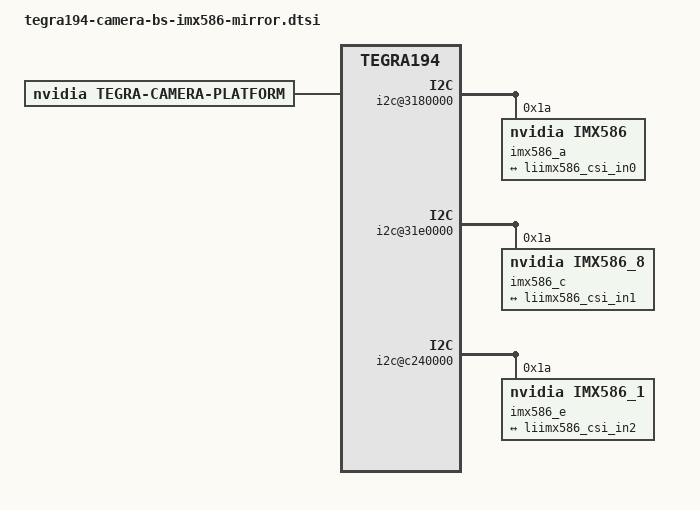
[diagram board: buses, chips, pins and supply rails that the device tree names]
/*
 * Copyright (c) 2020, Leopard Imaging Inc.  All rights reserved.
 * Based on Copyright (c) 2018, NVIDIA CORPORATION.  All rights reserved.
 * This program is free software; you can redistribute it and/or modify
 * it under the terms of the GNU General Public License as published by
 * the Free Software Foundation; either version 2 of the License, or
 * (at your option) any later version.
 *
 * This program is distributed in the hope that it will be useful, but WITHOUT
 * ANY WARRANTY; without even the implied warranty of MERCHANTABILITY or
 * FITNESS FOR A PARTICULAR PURPOSE.  See the GNU General Public License for
 * more details.
 *
 * You should have received a copy of the GNU General Public License
 * along with this program.  If not, see <http://www.gnu.org/licenses/>.
 */
//#include <dt-bindings/media/camera.h>

/ { // camera sensor pipelne: Sensor(raw) -> NVCSI-> VI-> ISP(yuv)-> Encoder/Decoder (V4L2)-> Display
	host1x {
		vi@15c10000 { // Video Input: this is the port binding
			/* CSI Channels */
		    num-channels = <3>; // Number of video inputs
			ports {
				#address-cells = <1>;
				#size-cells = <0>;
				port@0 { // media pad port
					reg = <0>;
					status = "okay";
					liimx586_vi_in0: endpoint {
						port-index = <0>; // sensor port connection
						bus-width = <4>; // number of CSI lanes. It CSI port has 2 CSI lanes, so there are 12 lanes total.
						remote-endpoint = <&liimx586_csi_out0>; // This binds the two ports. One is for sink and one for source
					};
				};
				
				port@1 { // media pad port
					reg = <1>;
					status = "okay";
					liimx586_vi_in1: endpoint {
						port-index = <2>; // sensor port connection
						bus-width = <4>; // number of CSI lanes. It CSI port has 2 CSI lanes, so there are 12 lanes total.
						remote-endpoint = <&liimx586_csi_out1>; // This binds the two ports. One is for sink and one for source
					};
				};


				port@2 { // media pad port
					reg = <2>;
					status = "okay";
					liimx586_vi_in2: endpoint {
						port-index = <4>; // sensor port connection
						bus-width = <4>; // number of CSI lanes. It CSI port has 2 CSI lanes, so there are 12 lanes total.
						remote-endpoint = <&liimx586_csi_out2>; // This binds the two ports. One is for sink and one for source
					};
				};
				
			};
		};
		
		// sensor -> (port2)NVCSI(port3) -> (port#)VI
		nvcsi@15a00000 {
			num-channels = <3>;
			#address-cells = <1>;
			#size-cells = <0>;
			channel@0 {
				reg = <0>;
				ports {
					#address-cells = <1>;
					#size-cells = <0>;
					port@0 {
						reg = <0>;
						status = "okay";
						liimx586_csi_in0: endpoint@0 {
							port-index = <0>; // sensor port connection
							bus-width = <4>; // number of CSI lanes. It CSI port has 2 CSI lanes, so there are 12 lanes total.
							remote-endpoint = <&liimx586_imx586_out0>; // This binds the two ports. One is for sink and one for source
						};
					};
					port@1 {
						reg = <1>;
						status = "okay";
						liimx586_csi_out0: endpoint@1 {
							remote-endpoint = <&liimx586_vi_in0>;
						};
					};
				};
			};	
					
			channel@1 {
				reg = <1>;
				ports {
					#address-cells = <1>;
					#size-cells = <0>;
					port@0 {
						reg = <0>;
						status = "okay";
						liimx586_csi_in1: endpoint@2 {
							port-index = <2>; // sensor port connection
							bus-width = <4>; // number of CSI lanes. It CSI port has 2 CSI lanes, so there are 12 lanes total.
							remote-endpoint = <&liimx586_imx586_out1>; // This binds the two ports. One is for sink and one for source
						};
					};
					port@1 {
						reg = <1>;
						status = "okay";
						liimx586_csi_out1: endpoint@3 {
							remote-endpoint = <&liimx586_vi_in1>;
						};
					};
				};
			};						

			channel@2 {
				reg = <2>;
				ports {
					#address-cells = <1>;
					#size-cells = <0>;
					port@0 {
						reg = <0>;
						status = "okay";
						liimx586_csi_in2: endpoint@4 {
							port-index = <4>; // sensor port connection
							bus-width = <4>; // number of CSI lanes. It CSI port has 2 CSI lanes, so there are 12 lanes total.
							remote-endpoint = <&liimx586_imx586_out2>; // This binds the two ports. One is for sink and one for source
						};
					};
					port@1 {
						reg = <1>;
						status = "okay";
						liimx586_csi_out2: endpoint@5 {
							remote-endpoint = <&liimx586_vi_in2>;
						};
					};
				};
			};			
		};
	};

	i2c@3180000 {
		imx586_a@34 {
			compatible = "nvidia,imx586";
			/* I2C device address */
			reg = <0x1A>;

			/* V4L2 device node location */
			devnode = "video1";

			/* Physical dimensions of sensor */
			physical_w = "6.4";
			physical_h = "4.8";

			sensor_model ="imx586";
			
			/* Define any required hw resources needed by driver */
			/* ie. clocks, io pins, power sources */
			avdd-reg = "vana";
			iovdd-reg = "vif";
			dvdd-reg = "vdig";
			
			/* Sensor output flip settings */
			vertical-flip = "true";

			/* Defines number of frames to be dropped by driver internally after applying */
			/* sensor crop settings. Some sensors send corrupt frames after applying */
			/* crop co-ordinates */
			post_crop_frame_drop = "0";
		
			/* Convert Gain to unit of dB (decibel) befor passing to kernel driver */
			use_decibel_gain = "true";

			/* if true, delay gain setting by one frame to be in sync with exposure */
			delayed_gain = "true";

			/* enable CID_SENSOR_MODE_ID for sensor modes selection */
			use_sensor_mode_id = "true";
		
			/**
			* A modeX node is required to support v4l2 driver
			* implementation with NVIDIA camera software stack
			*
			* mclk_khz = "";
			* Standard MIPI driving clock, typically 24MHz
			*
			* num_lanes = "";
			* Number of lane channels sensor is programmed to output
			*
			* tegra_sinterface = "";
			* The base tegra serial interface lanes are connected to
			* Incase of virtual HW devices, use virtual
			* For SW emulated devices, use host
			* must be set to the CSI port where the sensor is connected
			*
			* phy_mode = "";
			* PHY mode used by the MIPI lanes for this device
			*
			* discontinuous_clk = "";
			* The sensor is programmed to use a discontinuous clock on MIPI lanes
			*
			* dpcm_enable = "true";
			* The sensor is programmed to use a DPCM modes
			*
			* cil_settletime = "";
			* MIPI lane settle time value.
			* A "0" value attempts to autocalibrate based on mclk_multiplier
			*
			*
			*
			*
			* active_w = "";
			* Pixel active region width
			*
			* active_h = "";
			* Pixel active region height
			*
			* pixel_t = "";
			* The sensor readout pixel pattern
			*
			* readout_orientation = "0";
			* Based on camera module orientation.
			* Only change readout_orientation if you specifically
			* Program a different readout order for this mode
			*
			* line_length = "";
			* Pixel line length (width) for sensor mode.
			* This is used to calibrate features in our camera stack.
			*
			* mclk_multiplier = "";
			* Multiplier to MCLK to help time hardware capture sequence
			* TODO: Assign to PLL_Multiplier as well until fixed in core
			*
			* pix_clk_hz = "";
			* Sensor pixel clock used for calculations like exposure and framerate
			*
			*
			*
			*
			* inherent_gain = "";
			* Gain obtained inherently from mode (ie. pixel binning)
			*
			* == Source Control Settings ==
			*
			* Gain factor used to convert fixed point integer to float
			* Gain range [min_gain/gain_factor, max_gain/gain_factor]
			* Gain step [step_gain/gain_factor is the smallest step that can be configured]
			* Default gain [Default gain to be initialized for the control.
			*     use min_gain_val as default for optimal results]
			* Framerate factor used to convert fixed point integer to float
			* Framerate range [min_framerate/framerate_factor, max_framerate/framerate_factor]
			* Framerate step [step_framerate/framerate_factor is the smallest step that can be configured]
			* Default Framerate [Default framerate to be initialized for the control.
			*     use max_framerate to get required performance]
			* Exposure factor used to convert fixed point integer to float
			* For convenience use 1 sec = 1000000us as conversion factor
			* Exposure range [min_exp_time/exposure_factor, max_exp_time/exposure_factor]
			* Exposure step [step_exp_time/exposure_factor is the smallest step that can be configured]
			* Default Exposure Time [Default exposure to be initialized for the control.
			*     Set default exposure based on the default_framerate for optimal exposure settings]
			*
			* gain_factor = ""; (integer factor used for floating to fixed point conversion)
			* min_gain_val = ""; (ceil to integer)
			* max_gain_val = ""; (ceil to integer)
			* step_gain_val = ""; (ceil to integer)
			* default_gain = ""; (ceil to integer)
			* Gain limits for mode
			*
			* exposure_factor = ""; (integer factor used for floating to fixed point conversion)
			* min_exp_time = ""; (ceil to integer)
			* max_exp_time = ""; (ceil to integer)
			* step_exp_time = ""; (ceil to integer)
			* default_exp_time = ""; (ceil to integer)
			* Exposure Time limits for mode (us)
			*
			*
			* min_hdr_ratio = "";
			* max_hdr_ratio = "";
			* HDR Ratio limits for mode
			*
			* framerate_factor = ""; (integer factor used for floating to fixed point conversion)
			* min_framerate = "";
			* max_framerate = "";
			* step_framerate = ""; (ceil to integer)
			* default_framerate = ""; (ceil to integer)
			* Framerate limits for mode (fps)
			*
			* embedded_metadata_height = "";
			* Sensor embedded metadata height in units of rows.
			* If sensor does not support embedded metadata value should be 0.
			*/
			mode0 {/*mode IMX586_MODE_4000X3000_HDR_30FPS*/
				mclk_khz = "24000";
				num_lanes = "4";
				tegra_sinterface = "serial_a";
				phy_mode = "DPHY";
				discontinuous_clk = "no";
				dpcm_enable = "false";
				cil_settletime = "0";
				dynamic_pixel_bit_depth = "10";
				csi_pixel_bit_depth = "10";
				mode_type = "bayer";
				pixel_phase = "rggb";
				//pixel_phase = "bggr";
				
				active_w = "4000";
				active_h = "3000";
				readout_orientation = "0";
				line_length = "9440";
				inherent_gain = "1";
				mclk_multiplier = "1042";
				pix_clk_hz = "1718400000";
				
				//gain
				gain_factor = "10";
				min_gain_val = "10"; /* 1dB */
				max_gain_val = "240"; /* 24dB */
				step_gain_val = "1"; /* 0.1 */
				default_gain = "10";

				min_hdr_ratio = "1";
				max_hdr_ratio = "1";
				
				//framerate
				framerate_factor = "1000000";
				min_framerate = "1000000"; 	// 1.0
				max_framerate = "30003939";	// 30.0039390646258		
				step_framerate = "1";
				default_framerate = "30003939";
				
				//exposure	
				exposure_factor = "1000000";
				min_exp_time = "32"; /* us, 6 lines */
				max_exp_time = "33333"; /* us */
				step_exp_time = "2";
				default_exp_time = "33333";/* us */

				embedded_metadata_height = "0";
			};
			mode1 {/*mode IMX586_MODE_4000X3000_NOR_35FPS*/
				mclk_khz = "24000";
				num_lanes = "4";
				tegra_sinterface = "serial_a";
				phy_mode = "DPHY";
				discontinuous_clk = "no";
				dpcm_enable = "false";
				cil_settletime = "0";
				dynamic_pixel_bit_depth = "10";
				csi_pixel_bit_depth = "10";
				mode_type = "bayer";
				pixel_phase = "rggb";
				//pixel_phase = "bggr";
				
				active_w = "4000";
				active_h = "3000";
				readout_orientation = "0";
				line_length = "7872";
				inherent_gain = "1";
				//mclk_multiplier = "400";
				//pix_clk_hz = "597600000";
				//pix_clk_hz = "741600000";
				mclk_multiplier = "625";
				pix_clk_hz = "864000000";
				
				//gain
				gain_factor = "10";
				min_gain_val = "10"; /* 1dB */
				max_gain_val = "360"; /* 36dB */
				step_gain_val = "1"; /* 0.1 */
				default_gain = "10";

				min_hdr_ratio = "1";
				max_hdr_ratio = "1";
				
				//framerate
				framerate_factor = "1000000";
				//min_framerate = "1500000"; // 1.5 
				//max_framerate = "24808704";	// 24.808704
				min_framerate = "1000000"; 	// 1.0
				//max_framerate = "30786704";	// 30.78670492587279
				//max_framerate = "35668739";	// 35.66873904033158
				max_framerate = "35868005";	// 35.86800573888092	
				step_framerate = "1";
				//default_framerate = "24088320";
				//default_framerate = "30786704";
				//default_framerate = "35668739";
				default_framerate = "35868005";
				
				//exposure	
				exposure_factor = "1000000";
				min_exp_time = "56"; /* us, 6 lines */
				max_exp_time = "28571";	//"28036"; /* us */
				step_exp_time = "2";
				default_exp_time = "28571";/* us */

				embedded_metadata_height = "0";
			};
			mode2 {/*mode IMX586_MODE_4000X3000_HDR_30FPS_mirror*/
				mclk_khz = "24000";
				num_lanes = "4";
				tegra_sinterface = "serial_a";
				phy_mode = "DPHY";
				discontinuous_clk = "no";
				dpcm_enable = "false";
				cil_settletime = "0";
				dynamic_pixel_bit_depth = "10";
				csi_pixel_bit_depth = "10";
				mode_type = "bayer";
				pixel_phase = "grbg";
				//pixel_phase = "grbg";
				
				active_w = "4000";
				active_h = "3000";
				readout_orientation = "0";
				line_length = "9440";
				inherent_gain = "1";
				mclk_multiplier = "1042";
				pix_clk_hz = "1718400000";
				
				//gain
				gain_factor = "10";
				min_gain_val = "10"; /* 1dB */
				max_gain_val = "240"; /* 24dB */
				step_gain_val = "1"; /* 0.1 */
				default_gain = "10";

				min_hdr_ratio = "1";
				max_hdr_ratio = "1";
				
				//framerate
				framerate_factor = "1000000";
				min_framerate = "1000000"; 	// 1.0
				max_framerate = "30003939";	// 30.0039390646258		
				step_framerate = "1";
				default_framerate = "30003939";
				
				//exposure	
				exposure_factor = "1000000";
				min_exp_time = "32"; /* us, 6 lines */
				max_exp_time = "33333"; /* us */
				step_exp_time = "2";
				default_exp_time = "33333";/* us */

				embedded_metadata_height = "0";
			};	
			mode3 {/*mode IMX586_MODE_4000X3000_NOR_35FPS_mirror*/
				mclk_khz = "24000";
				num_lanes = "4";
				tegra_sinterface = "serial_a";
				phy_mode = "DPHY";
				discontinuous_clk = "no";
				dpcm_enable = "false";
				cil_settletime = "0";
				dynamic_pixel_bit_depth = "10";
				csi_pixel_bit_depth = "10";
				mode_type = "bayer";
				pixel_phase = "grbg";
				//pixel_phase = "grbg";
				
				active_w = "4000";
				active_h = "3000";
				readout_orientation = "0";
				line_length = "7872";
				inherent_gain = "1";
				//mclk_multiplier = "400";
				//pix_clk_hz = "597600000";
				//pix_clk_hz = "741600000";
				mclk_multiplier = "625";
				pix_clk_hz = "864000000";
				
				//gain
				gain_factor = "10";
				min_gain_val = "10"; /* 1dB */
				max_gain_val = "360"; /* 36dB */
				step_gain_val = "1"; /* 0.1 */
				default_gain = "10";

				min_hdr_ratio = "1";
				max_hdr_ratio = "1";
				
				//framerate
				framerate_factor = "1000000";
				//min_framerate = "1500000"; // 1.5 
				//max_framerate = "24808704";	// 24.808704
				min_framerate = "1000000"; 	// 1.0
				//max_framerate = "30786704";	// 30.78670492587279
				//max_framerate = "35668739";	// 35.66873904033158
				max_framerate = "35868005";	// 35.86800573888092	
				step_framerate = "1";
				//default_framerate = "24088320";
				//default_framerate = "30786704";
				//default_framerate = "35668739";
				default_framerate = "35868005";
				
				//exposure	
				exposure_factor = "1000000";
				min_exp_time = "56"; /* us, 6 lines */
				max_exp_time = "28571";	//"28036"; /* us */
				step_exp_time = "2";
				default_exp_time = "28571";/* us */

				embedded_metadata_height = "0";
			};
			mode4 {/*mode IMX586_MODE_4000X3000_HDR_30FPS_flip*/
				mclk_khz = "24000";
				num_lanes = "4";
				tegra_sinterface = "serial_a";
				phy_mode = "DPHY";
				discontinuous_clk = "no";
				dpcm_enable = "false";
				cil_settletime = "0";
				dynamic_pixel_bit_depth = "10";
				csi_pixel_bit_depth = "10";
				mode_type = "bayer";
				pixel_phase = "gbrg";
				//pixel_phase = "grbg";
				
				active_w = "4000";
				active_h = "3000";
				readout_orientation = "0";
				line_length = "9440";
				inherent_gain = "1";
				mclk_multiplier = "1042";
				pix_clk_hz = "1718400000";
				
				//gain
				gain_factor = "10";
				min_gain_val = "10"; /* 1dB */
				max_gain_val = "240"; /* 24dB */
				step_gain_val = "1"; /* 0.1 */
				default_gain = "10";

				min_hdr_ratio = "1";
				max_hdr_ratio = "1";
				
				//framerate
				framerate_factor = "1000000";
				min_framerate = "1000000"; 	// 1.0
				max_framerate = "30003939";	// 30.0039390646258		
				step_framerate = "1";
				default_framerate = "30003939";
				
				//exposure	
				exposure_factor = "1000000";
				min_exp_time = "32"; /* us, 6 lines */
				max_exp_time = "33333"; /* us */
				step_exp_time = "2";
				default_exp_time = "33333";/* us */

				embedded_metadata_height = "0";
			};			
			mode5 {/*mode IMX586_MODE_4000X3000_NOR_35FPS_flip*/
				mclk_khz = "24000";
				num_lanes = "4";
				tegra_sinterface = "serial_a";
				phy_mode = "DPHY";
				discontinuous_clk = "no";
				dpcm_enable = "false";
				cil_settletime = "0";
				dynamic_pixel_bit_depth = "10";
				csi_pixel_bit_depth = "10";
				mode_type = "bayer";
				pixel_phase = "gbrg";
				//pixel_phase = "grbg";
				
				active_w = "4000";
				active_h = "3000";
				readout_orientation = "0";
				line_length = "7872";
				inherent_gain = "1";
				//mclk_multiplier = "400";
				//pix_clk_hz = "597600000";
				//pix_clk_hz = "741600000";
				mclk_multiplier = "625";
				pix_clk_hz = "864000000";
				
				//gain
				gain_factor = "10";
				min_gain_val = "10"; /* 1dB */
				max_gain_val = "360"; /* 36dB */
				step_gain_val = "1"; /* 0.1 */
				default_gain = "10";

				min_hdr_ratio = "1";
				max_hdr_ratio = "1";
				
				//framerate
				framerate_factor = "1000000";
				//min_framerate = "1500000"; // 1.5 
				//max_framerate = "24808704";	// 24.808704
				min_framerate = "1000000"; 	// 1.0
				//max_framerate = "30786704";	// 30.78670492587279
				//max_framerate = "35668739";	// 35.66873904033158
				max_framerate = "35868005";	// 35.86800573888092	
				step_framerate = "1";
				//default_framerate = "24088320";
				//default_framerate = "30786704";
				//default_framerate = "35668739";
				default_framerate = "35868005";
				
				//exposure	
				exposure_factor = "1000000";
				min_exp_time = "56"; /* us, 6 lines */
				max_exp_time = "28571";	//"28036"; /* us */
				step_exp_time = "2";
				default_exp_time = "28571";/* us */

				embedded_metadata_height = "0";
			};
			mode6 {/*mode IMX586_MODE_4000X3000_HDR_30FPS_mirror_flip*/
				mclk_khz = "24000";
				num_lanes = "4";
				tegra_sinterface = "serial_a";
				phy_mode = "DPHY";
				discontinuous_clk = "no";
				dpcm_enable = "false";
				cil_settletime = "0";
				dynamic_pixel_bit_depth = "10";
				csi_pixel_bit_depth = "10";
				mode_type = "bayer";
				pixel_phase = "bggr";
				//pixel_phase = "grbg";
				
				active_w = "4000";
				active_h = "3000";
				readout_orientation = "0";
				line_length = "9440";
				inherent_gain = "1";
				mclk_multiplier = "1042";
				pix_clk_hz = "1718400000";
				
				//gain
				gain_factor = "10";
				min_gain_val = "10"; /* 1dB */
				max_gain_val = "240"; /* 24dB */
				step_gain_val = "1"; /* 0.1 */
				default_gain = "10";

				min_hdr_ratio = "1";
				max_hdr_ratio = "1";
				
				//framerate
				framerate_factor = "1000000";
				min_framerate = "1000000"; 	// 1.0
				max_framerate = "30003939";	// 30.0039390646258		
				step_framerate = "1";
				default_framerate = "30003939";
				
				//exposure	
				exposure_factor = "1000000";
				min_exp_time = "32"; /* us, 6 lines */
				max_exp_time = "33333"; /* us */
				step_exp_time = "2";
				default_exp_time = "33333";/* us */

				embedded_metadata_height = "0";
			};	
			mode7 {/*mode IMX586_MODE_4000X3000_NOR_35FPS_mirror_flip*/
				mclk_khz = "24000";
				num_lanes = "4";
				tegra_sinterface = "serial_a";
				phy_mode = "DPHY";
				discontinuous_clk = "no";
				dpcm_enable = "false";
				cil_settletime = "0";
				dynamic_pixel_bit_depth = "10";
				csi_pixel_bit_depth = "10";
				mode_type = "bayer";
				pixel_phase = "bggr";
				//pixel_phase = "grbg";
				
				active_w = "4000";
				active_h = "3000";
				readout_orientation = "0";
				line_length = "7872";
				inherent_gain = "1";
				//mclk_multiplier = "400";
				//pix_clk_hz = "597600000";
				//pix_clk_hz = "741600000";
				mclk_multiplier = "625";
				pix_clk_hz = "864000000";
				
				//gain
				gain_factor = "10";
				min_gain_val = "10"; /* 1dB */
				max_gain_val = "360"; /* 36dB */
				step_gain_val = "1"; /* 0.1 */
				default_gain = "10";

				min_hdr_ratio = "1";
				max_hdr_ratio = "1";
				
				//framerate
				framerate_factor = "1000000";
				//min_framerate = "1500000"; // 1.5 
				//max_framerate = "24808704";	// 24.808704
				min_framerate = "1000000"; 	// 1.0
				//max_framerate = "30786704";	// 30.78670492587279
				//max_framerate = "35668739";	// 35.66873904033158
				max_framerate = "35868005";	// 35.86800573888092	
				step_framerate = "1";
				//default_framerate = "24088320";
				//default_framerate = "30786704";
				//default_framerate = "35668739";
				default_framerate = "35868005";
				
				//exposure	
				exposure_factor = "1000000";
				min_exp_time = "56"; /* us, 6 lines */
				max_exp_time = "28571";	//"28036"; /* us */
				step_exp_time = "2";
				default_exp_time = "28571";/* us */

				embedded_metadata_height = "0";
			};	
			/*
			mode8 {//mode IMX586_MODE_8000X6000_FULL_19FPS/
				mclk_khz = "24000";
				num_lanes = "4";
				tegra_sinterface = "serial_a";
				phy_mode = "DPHY";
				discontinuous_clk = "no";
				dpcm_enable = "false";
				cil_settletime = "0";
				dynamic_pixel_bit_depth = "10";
				csi_pixel_bit_depth = "10";
				mode_type = "bayer";
				pixel_phase = "rggb";
				//pixel_phase = "grbg";
				
				active_w = "8000";
				active_h = "6000";
				readout_orientation = "0";
				line_length = "16000";
				inherent_gain = "1";
				mclk_multiplier = "625";
				pix_clk_hz = "1728000000";
				
				//gain
				gain_factor = "10";
				min_gain_val = "10"; // 1dB
				max_gain_val = "240"; // 24dB
				step_gain_val = "10"; // 1db
				default_gain = "10";

				min_hdr_ratio = "1";
				max_hdr_ratio = "1";
				
				//framerate
				framerate_factor = "1000000";
				min_framerate = "1500000"; // 1.5
				max_framerate = "19390000"; // 19.39
				step_framerate = "1";
				default_framerate = "19390000";
				
				//exposure	
				exposure_factor = "1000000";
				min_exp_time = "30"; // us
				max_exp_time = "28036"; // us
				step_exp_time = "1";
				default_exp_time = "3000";// us

				embedded_metadata_height = "0";
			};	
			*/		

			ports {
				#address-cells = <1>;
				#size-cells = <0>;
				port@0 {
					reg = <0>;
					status = "okay";
					liimx586_imx586_out0: endpoint {
						port-index = <0>;
						bus-width = <4>;
						remote-endpoint = <&liimx586_csi_in0>;
					};
				};
			};
		};
	};

	i2c@31e0000 {
		imx586_c@34 {
			compatible = "nvidia,imx586_8";
			/* I2C device address */
			reg = <0x1A>;

			/* V4L2 device node location */
			devnode = "video0";

			/* Physical dimensions of sensor */
			physical_w = "6.4";
			physical_h = "4.8";

			sensor_model ="imx586_8";
			
			/* Define any required hw resources needed by driver */
			/* ie. clocks, io pins, power sources */
			avdd-reg = "vana";
			iovdd-reg = "vif";
			dvdd-reg = "vdig";
			
			/* Sensor output flip settings */
			vertical-flip = "true";

			/* Defines number of frames to be dropped by driver internally after applying */
			/* sensor crop settings. Some sensors send corrupt frames after applying */
			/* crop co-ordinates */
			post_crop_frame_drop = "0";
		
			/* Convert Gain to unit of dB (decibel) befor passing to kernel driver */
			use_decibel_gain = "true";

			/* if true, delay gain setting by one frame to be in sync with exposure */
			delayed_gain = "true";

			/* enable CID_SENSOR_MODE_ID for sensor modes selection */
			use_sensor_mode_id = "true";
		
			/**
			* A modeX node is required to support v4l2 driver
			* implementation with NVIDIA camera software stack
			*
			* mclk_khz = "";
			* Standard MIPI driving clock, typically 24MHz
			*
			* num_lanes = "";
			* Number of lane channels sensor is programmed to output
			*
			* tegra_sinterface = "";
			* The base tegra serial interface lanes are connected to
			* Incase of virtual HW devices, use virtual
			* For SW emulated devices, use host
			* must be set to the CSI port where the sensor is connected
			*
			* phy_mode = "";
			* PHY mode used by the MIPI lanes for this device
			*
			* discontinuous_clk = "";
			* The sensor is programmed to use a discontinuous clock on MIPI lanes
			*
			* dpcm_enable = "true";
			* The sensor is programmed to use a DPCM modes
			*
			* cil_settletime = "";
			* MIPI lane settle time value.
			* A "0" value attempts to autocalibrate based on mclk_multiplier
			*
			*
			*
			*
			* active_w = "";
			* Pixel active region width
			*
			* active_h = "";
			* Pixel active region height
			*
			* pixel_t = "";
			* The sensor readout pixel pattern
			*
			* readout_orientation = "0";
			* Based on camera module orientation.
			* Only change readout_orientation if you specifically
			* Program a different readout order for this mode
			*
			* line_length = "";
			* Pixel line length (width) for sensor mode.
			* This is used to calibrate features in our camera stack.
			*
			* mclk_multiplier = "";
			* Multiplier to MCLK to help time hardware capture sequence
			* TODO: Assign to PLL_Multiplier as well until fixed in core
			*
			* pix_clk_hz = "";
			* Sensor pixel clock used for calculations like exposure and framerate
			*
			*
			*
			*
			* inherent_gain = "";
			* Gain obtained inherently from mode (ie. pixel binning)
			*
			* == Source Control Settings ==
			*
			* Gain factor used to convert fixed point integer to float
			* Gain range [min_gain/gain_factor, max_gain/gain_factor]
			* Gain step [step_gain/gain_factor is the smallest step that can be configured]
			* Default gain [Default gain to be initialized for the control.
			*     use min_gain_val as default for optimal results]
			* Framerate factor used to convert fixed point integer to float
			* Framerate range [min_framerate/framerate_factor, max_framerate/framerate_factor]
			* Framerate step [step_framerate/framerate_factor is the smallest step that can be configured]
			* Default Framerate [Default framerate to be initialized for the control.
			*     use max_framerate to get required performance]
			* Exposure factor used to convert fixed point integer to float
			* For convenience use 1 sec = 1000000us as conversion factor
			* Exposure range [min_exp_time/exposure_factor, max_exp_time/exposure_factor]
			* Exposure step [step_exp_time/exposure_factor is the smallest step that can be configured]
			* Default Exposure Time [Default exposure to be initialized for the control.
			*     Set default exposure based on the default_framerate for optimal exposure settings]
			*
			* gain_factor = ""; (integer factor used for floating to fixed point conversion)
			* min_gain_val = ""; (ceil to integer)
			* max_gain_val = ""; (ceil to integer)
			* step_gain_val = ""; (ceil to integer)
			* default_gain = ""; (ceil to integer)
			* Gain limits for mode
			*
			* exposure_factor = ""; (integer factor used for floating to fixed point conversion)
			* min_exp_time = ""; (ceil to integer)
			* max_exp_time = ""; (ceil to integer)
			* step_exp_time = ""; (ceil to integer)
			* default_exp_time = ""; (ceil to integer)
			* Exposure Time limits for mode (us)
			*
			*
			* min_hdr_ratio = "";
			* max_hdr_ratio = "";
			* HDR Ratio limits for mode
			*
			* framerate_factor = ""; (integer factor used for floating to fixed point conversion)
			* min_framerate = "";
			* max_framerate = "";
			* step_framerate = ""; (ceil to integer)
			* default_framerate = ""; (ceil to integer)
			* Framerate limits for mode (fps)
			*
			* embedded_metadata_height = "";
			* Sensor embedded metadata height in units of rows.
			* If sensor does not support embedded metadata value should be 0.
			*/
			mode0 {/*mode IMX586_MODE_4000X3000_HDR_30FPS*/
				mclk_khz = "24000";
				num_lanes = "4";
				tegra_sinterface = "serial_a";
				phy_mode = "DPHY";
				discontinuous_clk = "no";
				dpcm_enable = "false";
				cil_settletime = "0";
				dynamic_pixel_bit_depth = "10";
				csi_pixel_bit_depth = "10";
				mode_type = "bayer";
				//pixel_phase = "rggb";
				pixel_phase = "gbrg";
				
				active_w = "4000";
				active_h = "3000";
				readout_orientation = "0";
				line_length = "9440";
				inherent_gain = "1";
				mclk_multiplier = "1042";
				pix_clk_hz = "1718400000";
				
				//gain
				gain_factor = "10";
				min_gain_val = "10"; /* 1dB */
				max_gain_val = "240"; /* 24dB */
				step_gain_val = "1"; /* 0.1 */
				default_gain = "10";

				min_hdr_ratio = "1";
				max_hdr_ratio = "1";
				
				//framerate
				framerate_factor = "1000000";
				min_framerate = "1000000"; 	// 1.0
				max_framerate = "30003939";	// 30.0039390646258		
				step_framerate = "1";
				default_framerate = "30003939";
				
				//exposure	
				exposure_factor = "1000000";
				min_exp_time = "32"; /* us, 6 lines */
				max_exp_time = "33333"; /* us */
				step_exp_time = "2";
				default_exp_time = "33333";/* us */

				embedded_metadata_height = "0";
			};
			mode1 {/*mode IMX586_MODE_4000X3000_NOR_35FPS*/
				mclk_khz = "24000";
				num_lanes = "4";
				tegra_sinterface = "serial_a";
				phy_mode = "DPHY";
				discontinuous_clk = "no";
				dpcm_enable = "false";
				cil_settletime = "0";
				dynamic_pixel_bit_depth = "10";
				csi_pixel_bit_depth = "10";
				mode_type = "bayer";
				pixel_phase = "rggb";
				//pixel_phase = "gbrg";
				
				active_w = "4000";
				active_h = "3000";
				readout_orientation = "0";
				line_length = "7872";
				inherent_gain = "1";
				//mclk_multiplier = "400";
				//pix_clk_hz = "597600000";
				//pix_clk_hz = "741600000";
				mclk_multiplier = "625";
				pix_clk_hz = "864000000";
				
				//gain
				gain_factor = "10";
				min_gain_val = "10"; /* 1dB */
				max_gain_val = "360"; /* 36dB */
				step_gain_val = "1"; /* 0.1 */
				default_gain = "10";

				min_hdr_ratio = "1";
				max_hdr_ratio = "1";
				
				//framerate
				framerate_factor = "1000000";
				//min_framerate = "1500000"; // 1.5 
				//max_framerate = "24808704";	// 24.808704
				min_framerate = "1000000"; 	// 1.0
				//max_framerate = "30786704";	// 30.78670492587279
				//max_framerate = "35668739";	// 35.66873904033158
				max_framerate = "35868005";	// 35.86800573888092	
				step_framerate = "1";
				//default_framerate = "24088320";
				//default_framerate = "30786704";
				//default_framerate = "35668739";
				default_framerate = "35868005";
				
				//exposure	
				exposure_factor = "1000000";
				min_exp_time = "56"; /* us, 6 lines */
				max_exp_time = "28571";	//"28036"; /* us */
				step_exp_time = "2";
				default_exp_time = "28571";/* us */

				embedded_metadata_height = "0";
			};
			mode2 {/*mode IMX586_MODE_4000X3000_HDR_30FPS_mirror*/
				mclk_khz = "24000";
				num_lanes = "4";
				tegra_sinterface = "serial_a";
				phy_mode = "DPHY";
				discontinuous_clk = "no";
				dpcm_enable = "false";
				cil_settletime = "0";
				dynamic_pixel_bit_depth = "10";
				csi_pixel_bit_depth = "10";
				mode_type = "bayer";
				//pixel_phase = "rggb";
				pixel_phase = "grbg";
				
				active_w = "4000";
				active_h = "3000";
				readout_orientation = "0";
				line_length = "9440";
				inherent_gain = "1";
				mclk_multiplier = "1042";
				pix_clk_hz = "1718400000";
				
				//gain
				gain_factor = "10";
				min_gain_val = "10"; /* 1dB */
				max_gain_val = "240"; /* 24dB */
				step_gain_val = "1"; /* 0.1 */
				default_gain = "10";

				min_hdr_ratio = "1";
				max_hdr_ratio = "1";
				
				//framerate
				framerate_factor = "1000000";
				min_framerate = "1000000"; 	// 1.0
				max_framerate = "30003939";	// 30.0039390646258		
				step_framerate = "1";
				default_framerate = "30003939";
				
				//exposure	
				exposure_factor = "1000000";
				min_exp_time = "32"; /* us, 6 lines */
				max_exp_time = "33333"; /* us */
				step_exp_time = "2";
				default_exp_time = "33333";/* us */

				embedded_metadata_height = "0";
			};	
			mode3 {/*mode IMX586_MODE_4000X3000_NOR_35FPS_mirror*/
				mclk_khz = "24000";
				num_lanes = "4";
				tegra_sinterface = "serial_a";
				phy_mode = "DPHY";
				discontinuous_clk = "no";
				dpcm_enable = "false";
				cil_settletime = "0";
				dynamic_pixel_bit_depth = "10";
				csi_pixel_bit_depth = "10";
				mode_type = "bayer";
				//pixel_phase = "rggb";
				pixel_phase = "grbg";
				
				active_w = "4000";
				active_h = "3000";
				readout_orientation = "0";
				line_length = "7872";
				inherent_gain = "1";
				//mclk_multiplier = "400";
				//pix_clk_hz = "597600000";
				//pix_clk_hz = "741600000";
				mclk_multiplier = "625";
				pix_clk_hz = "864000000";
				
				//gain
				gain_factor = "10";
				min_gain_val = "10"; /* 1dB */
				max_gain_val = "360"; /* 36dB */
				step_gain_val = "1"; /* 0.1 */
				default_gain = "10";

				min_hdr_ratio = "1";
				max_hdr_ratio = "1";
				
				//framerate
				framerate_factor = "1000000";
				//min_framerate = "1500000"; // 1.5 
				//max_framerate = "24808704";	// 24.808704
				min_framerate = "1000000"; 	// 1.0
				//max_framerate = "30786704";	// 30.78670492587279
				//max_framerate = "35668739";	// 35.66873904033158
				max_framerate = "35868005";	// 35.86800573888092	
				step_framerate = "1";
				//default_framerate = "24088320";
				//default_framerate = "30786704";
				//default_framerate = "35668739";
				default_framerate = "35868005";
				
				//exposure	
				exposure_factor = "1000000";
				min_exp_time = "56"; /* us, 6 lines */
				max_exp_time = "28571";	//"28036"; /* us */
				step_exp_time = "2";
				default_exp_time = "28571";/* us */

				embedded_metadata_height = "0";
			};
			mode4 {/*mode IMX586_MODE_4000X3000_HDR_30FPS_flip*/
				mclk_khz = "24000";
				num_lanes = "4";
				tegra_sinterface = "serial_a";
				phy_mode = "DPHY";
				discontinuous_clk = "no";
				dpcm_enable = "false";
				cil_settletime = "0";
				dynamic_pixel_bit_depth = "10";
				csi_pixel_bit_depth = "10";
				mode_type = "bayer";
				pixel_phase = "gbrg";
				//pixel_phase = "grbg";
				
				active_w = "4000";
				active_h = "3000";
				readout_orientation = "0";
				line_length = "9440";
				inherent_gain = "1";
				mclk_multiplier = "1042";
				pix_clk_hz = "1718400000";
				
				//gain
				gain_factor = "10";
				min_gain_val = "10"; /* 1dB */
				max_gain_val = "240"; /* 24dB */
				step_gain_val = "1"; /* 0.1 */
				default_gain = "10";

				min_hdr_ratio = "1";
				max_hdr_ratio = "1";
				
				//framerate
				framerate_factor = "1000000";
				min_framerate = "1000000"; 	// 1.0
				max_framerate = "30003939";	// 30.0039390646258		
				step_framerate = "1";
				default_framerate = "30003939";
				
				//exposure	
				exposure_factor = "1000000";
				min_exp_time = "32"; /* us, 6 lines */
				max_exp_time = "33333"; /* us */
				step_exp_time = "2";
				default_exp_time = "33333";/* us */

				embedded_metadata_height = "0";
			};			
			mode5 {/*mode IMX586_MODE_4000X3000_NOR_35FPS_flip*/
				mclk_khz = "24000";
				num_lanes = "4";
				tegra_sinterface = "serial_a";
				phy_mode = "DPHY";
				discontinuous_clk = "no";
				dpcm_enable = "false";
				cil_settletime = "0";
				dynamic_pixel_bit_depth = "10";
				csi_pixel_bit_depth = "10";
				mode_type = "bayer";
				pixel_phase = "gbrg";
				//pixel_phase = "grbg";
				
				active_w = "4000";
				active_h = "3000";
				readout_orientation = "0";
				line_length = "7872";
				inherent_gain = "1";
				//mclk_multiplier = "400";
				//pix_clk_hz = "597600000";
				//pix_clk_hz = "741600000";
				mclk_multiplier = "625";
				pix_clk_hz = "864000000";
				
				//gain
				gain_factor = "10";
				min_gain_val = "10"; /* 1dB */
				max_gain_val = "360"; /* 36dB */
				step_gain_val = "1"; /* 0.1 */
				default_gain = "10";

				min_hdr_ratio = "1";
				max_hdr_ratio = "1";
				
				//framerate
				framerate_factor = "1000000";
				//min_framerate = "1500000"; // 1.5 
				//max_framerate = "24808704";	// 24.808704
				min_framerate = "1000000"; 	// 1.0
				//max_framerate = "30786704";	// 30.78670492587279
				//max_framerate = "35668739";	// 35.66873904033158
				max_framerate = "35868005";	// 35.86800573888092	
				step_framerate = "1";
				//default_framerate = "24088320";
				//default_framerate = "30786704";
				//default_framerate = "35668739";
				default_framerate = "35868005";
				
				//exposure	
				exposure_factor = "1000000";
				min_exp_time = "56"; /* us, 6 lines */
				max_exp_time = "28571";	//"28036"; /* us */
				step_exp_time = "2";
				default_exp_time = "28571";/* us */

				embedded_metadata_height = "0";
			};
			mode6 {/*mode IMX586_MODE_4000X3000_HDR_30FPS_mirror_flip*/
				mclk_khz = "24000";
				num_lanes = "4";
				tegra_sinterface = "serial_a";
				phy_mode = "DPHY";
				discontinuous_clk = "no";
				dpcm_enable = "false";
				cil_settletime = "0";
				dynamic_pixel_bit_depth = "10";
				csi_pixel_bit_depth = "10";
				mode_type = "bayer";
				pixel_phase = "bggr";
				//pixel_phase = "grbg";
				
				active_w = "4000";
				active_h = "3000";
				readout_orientation = "0";
				line_length = "9440";
				inherent_gain = "1";
				mclk_multiplier = "1042";
				pix_clk_hz = "1718400000";
				
				//gain
				gain_factor = "10";
				min_gain_val = "10"; /* 1dB */
				max_gain_val = "240"; /* 24dB */
				step_gain_val = "1"; /* 0.1 */
				default_gain = "10";

				min_hdr_ratio = "1";
				max_hdr_ratio = "1";
				
				//framerate
				framerate_factor = "1000000";
				min_framerate = "1000000"; 	// 1.0
				max_framerate = "30003939";	// 30.0039390646258		
				step_framerate = "1";
				default_framerate = "30003939";
				
				//exposure	
				exposure_factor = "1000000";
				min_exp_time = "32"; /* us, 6 lines */
				max_exp_time = "33333"; /* us */
				step_exp_time = "2";
				default_exp_time = "33333";/* us */

				embedded_metadata_height = "0";
			};	
			mode7 {/*mode IMX586_MODE_4000X3000_NOR_35FPS_mirror_flip*/
				mclk_khz = "24000";
				num_lanes = "4";
				tegra_sinterface = "serial_a";
				phy_mode = "DPHY";
				discontinuous_clk = "no";
				dpcm_enable = "false";
				cil_settletime = "0";
				dynamic_pixel_bit_depth = "10";
				csi_pixel_bit_depth = "10";
				mode_type = "bayer";
				pixel_phase = "bggr";
				//pixel_phase = "grbg";
				
				active_w = "4000";
				active_h = "3000";
				readout_orientation = "0";
				line_length = "7872";
				inherent_gain = "1";
				//mclk_multiplier = "400";
				//pix_clk_hz = "597600000";
				//pix_clk_hz = "741600000";
				mclk_multiplier = "625";
				pix_clk_hz = "864000000";
				
				//gain
				gain_factor = "10";
				min_gain_val = "10"; /* 1dB */
				max_gain_val = "360"; /* 36dB */
				step_gain_val = "1"; /* 0.1 */
				default_gain = "10";

				min_hdr_ratio = "1";
				max_hdr_ratio = "1";
				
				//framerate
				framerate_factor = "1000000";
				//min_framerate = "1500000"; // 1.5 
				//max_framerate = "24808704";	// 24.808704
				min_framerate = "1000000"; 	// 1.0
				//max_framerate = "30786704";	// 30.78670492587279
				//max_framerate = "35668739";	// 35.66873904033158
				max_framerate = "35868005";	// 35.86800573888092	
				step_framerate = "1";
				//default_framerate = "24088320";
				//default_framerate = "30786704";
				//default_framerate = "35668739";
				default_framerate = "35868005";
				
				//exposure	
				exposure_factor = "1000000";
				min_exp_time = "56"; /* us, 6 lines */
				max_exp_time = "28571";	//"28036"; /* us */
				step_exp_time = "2";
				default_exp_time = "28571";/* us */

				embedded_metadata_height = "0";
			};
			/*
			mode8 {//mode IMX586_MODE_8000X6000_FULL_19FPS/
				mclk_khz = "24000";
				num_lanes = "4";
				tegra_sinterface = "serial_c";
				phy_mode = "DPHY";
				discontinuous_clk = "no";
				dpcm_enable = "false";
				cil_settletime = "0";
				dynamic_pixel_bit_depth = "10";
				csi_pixel_bit_depth = "10";
				mode_type = "bayer";
				pixel_phase = "rggb";
				//pixel_phase = "grbg";
				
				active_w = "8000";
				active_h = "6000";
				readout_orientation = "0";
				line_length = "16000";
				inherent_gain = "1";
				mclk_multiplier = "625";
				pix_clk_hz = "1728000000";
				
				//gain
				gain_factor = "10";
				min_gain_val = "10"; // 1dB
				max_gain_val = "240"; // 24dB
				step_gain_val = "10"; // 1db
				default_gain = "10";

				min_hdr_ratio = "1";
				max_hdr_ratio = "1";
				
				//framerate
				framerate_factor = "1000000";
				min_framerate = "1500000"; // 1.5
				max_framerate = "19390000"; // 19.39
				step_framerate = "1";
				default_framerate = "19390000";
				
				//exposure	
				exposure_factor = "1000000";
				min_exp_time = "30"; // us
				max_exp_time = "28036"; // us
				step_exp_time = "1";
				default_exp_time = "3000";// us

				embedded_metadata_height = "0";
			};	
			*/			
			
			ports {
				#address-cells = <1>;
				#size-cells = <0>;

				port@0 {
					reg = <0>;
					status = "okay";
					liimx586_imx586_out1: endpoint {
						port-index = <2>;
						bus-width = <4>;
						remote-endpoint = <&liimx586_csi_in1>;
					};
				};
			};
		};
	};	
	
	i2c@c240000 {
		imx586_e@34 {
			compatible = "nvidia,imx586_1";
			/* I2C device address */
			reg = <0x1A>;

			/* V4L2 device node location */
			devnode = "video2";

			/* Physical dimensions of sensor */
			physical_w = "6.4";
			physical_h = "4.8";

			sensor_model ="imx586_1";
			
			/* Define any required hw resources needed by driver */
			/* ie. clocks, io pins, power sources */
			avdd-reg = "vana";
			iovdd-reg = "vif";
			dvdd-reg = "vdig";
			
			/* Sensor output flip settings */
			vertical-flip = "true";

			/* Defines number of frames to be dropped by driver internally after applying */
			/* sensor crop settings. Some sensors send corrupt frames after applying */
			/* crop co-ordinates */
			post_crop_frame_drop = "0";
		
			/* Convert Gain to unit of dB (decibel) befor passing to kernel driver */
			use_decibel_gain = "true";

			/* if true, delay gain setting by one frame to be in sync with exposure */
			delayed_gain = "true";

			/* enable CID_SENSOR_MODE_ID for sensor modes selection */
			use_sensor_mode_id = "true";
		
			/**
			* A modeX node is required to support v4l2 driver
			* implementation with NVIDIA camera software stack
			*
			* mclk_khz = "";
			* Standard MIPI driving clock, typically 24MHz
			*
			* num_lanes = "";
			* Number of lane channels sensor is programmed to output
			*
			* tegra_sinterface = "";
			* The base tegra serial interface lanes are connected to
			* Incase of virtual HW devices, use virtual
			* For SW emulated devices, use host
			* must be set to the CSI port where the sensor is connected
			*
			* phy_mode = "";
			* PHY mode used by the MIPI lanes for this device
			*
			* discontinuous_clk = "";
			* The sensor is programmed to use a discontinuous clock on MIPI lanes
			*
			* dpcm_enable = "true";
			* The sensor is programmed to use a DPCM modes
			*
			* cil_settletime = "";
			* MIPI lane settle time value.
			* A "0" value attempts to autocalibrate based on mclk_multiplier
			*
			*
			*
			*
			* active_w = "";
			* Pixel active region width
			*
			* active_h = "";
			* Pixel active region height
			*
			* pixel_t = "";
			* The sensor readout pixel pattern
			*
			* readout_orientation = "0";
			* Based on camera module orientation.
			* Only change readout_orientation if you specifically
			* Program a different readout order for this mode
			*
			* line_length = "";
			* Pixel line length (width) for sensor mode.
			* This is used to calibrate features in our camera stack.
			*
			* mclk_multiplier = "";
			* Multiplier to MCLK to help time hardware capture sequence
			* TODO: Assign to PLL_Multiplier as well until fixed in core
			*
			* pix_clk_hz = "";
			* Sensor pixel clock used for calculations like exposure and framerate
			*
			*
			*
			*
			* inherent_gain = "";
			* Gain obtained inherently from mode (ie. pixel binning)
			*
			* == Source Control Settings ==
			*
			* Gain factor used to convert fixed point integer to float
			* Gain range [min_gain/gain_factor, max_gain/gain_factor]
			* Gain step [step_gain/gain_factor is the smallest step that can be configured]
			* Default gain [Default gain to be initialized for the control.
			*     use min_gain_val as default for optimal results]
			* Framerate factor used to convert fixed point integer to float
			* Framerate range [min_framerate/framerate_factor, max_framerate/framerate_factor]
			* Framerate step [step_framerate/framerate_factor is the smallest step that can be configured]
			* Default Framerate [Default framerate to be initialized for the control.
			*     use max_framerate to get required performance]
			* Exposure factor used to convert fixed point integer to float
			* For convenience use 1 sec = 1000000us as conversion factor
			* Exposure range [min_exp_time/exposure_factor, max_exp_time/exposure_factor]
			* Exposure step [step_exp_time/exposure_factor is the smallest step that can be configured]
			* Default Exposure Time [Default exposure to be initialized for the control.
			*     Set default exposure based on the default_framerate for optimal exposure settings]
			*
			* gain_factor = ""; (integer factor used for floating to fixed point conversion)
			* min_gain_val = ""; (ceil to integer)
			* max_gain_val = ""; (ceil to integer)
			* step_gain_val = ""; (ceil to integer)
			* default_gain = ""; (ceil to integer)
			* Gain limits for mode
			*
			* exposure_factor = ""; (integer factor used for floating to fixed point conversion)
			* min_exp_time = ""; (ceil to integer)
			* max_exp_time = ""; (ceil to integer)
			* step_exp_time = ""; (ceil to integer)
			* default_exp_time = ""; (ceil to integer)
			* Exposure Time limits for mode (us)
			*
			*
			* min_hdr_ratio = "";
			* max_hdr_ratio = "";
			* HDR Ratio limits for mode
			*
			* framerate_factor = ""; (integer factor used for floating to fixed point conversion)
			* min_framerate = "";
			* max_framerate = "";
			* step_framerate = ""; (ceil to integer)
			* default_framerate = ""; (ceil to integer)
			* Framerate limits for mode (fps)
			*
			* embedded_metadata_height = "";
			* Sensor embedded metadata height in units of rows.
			* If sensor does not support embedded metadata value should be 0.
			*/
			mode0 {/*mode IMX586_MODE_4000X3000_HDR_30FPS*/
				mclk_khz = "24000";
				num_lanes = "4";
				tegra_sinterface = "serial_a";
				phy_mode = "DPHY";
				discontinuous_clk = "no";
				dpcm_enable = "false";
				cil_settletime = "0";
				dynamic_pixel_bit_depth = "10";
				csi_pixel_bit_depth = "10";
				mode_type = "bayer";
				pixel_phase = "bggr";
				//pixel_phase = "grbg";
				
				active_w = "4000";
				active_h = "3000";
				readout_orientation = "0";
				line_length = "9440";
				inherent_gain = "1";
				mclk_multiplier = "1042";
				pix_clk_hz = "1718400000";
				
				//gain
				gain_factor = "10";
				min_gain_val = "10"; /* 1dB */
				max_gain_val = "240"; /* 24dB */
				step_gain_val = "1"; /* 0.1 */
				default_gain = "10";

				min_hdr_ratio = "1";
				max_hdr_ratio = "1";
				
				//framerate
				framerate_factor = "1000000";
				min_framerate = "1000000"; 	// 1.0
				max_framerate = "30003939";	// 30.0039390646258		
				step_framerate = "1";
				default_framerate = "30003939";
				
				//exposure	
				exposure_factor = "1000000";
				min_exp_time = "32"; /* us, 6 lines */
				max_exp_time = "33333"; /* us */
				step_exp_time = "2";
				default_exp_time = "33333";/* us */

				embedded_metadata_height = "0";
			};
			mode1 {/*mode IMX586_MODE_4000X3000_NOR_35FPS*/
				mclk_khz = "24000";
				num_lanes = "4";
				tegra_sinterface = "serial_a";
				phy_mode = "DPHY";
				discontinuous_clk = "no";
				dpcm_enable = "false";
				cil_settletime = "0";
				dynamic_pixel_bit_depth = "10";
				csi_pixel_bit_depth = "10";
				mode_type = "bayer";
				pixel_phase = "rggb";
				//pixel_phase = "grbg";
				
				active_w = "4000";
				active_h = "3000";
				readout_orientation = "0";
				line_length = "7872";
				inherent_gain = "1";
				//mclk_multiplier = "400";
				//pix_clk_hz = "597600000";
				//pix_clk_hz = "741600000";
				mclk_multiplier = "625";
				pix_clk_hz = "864000000";
				
				//gain
				gain_factor = "10";
				min_gain_val = "10"; /* 1dB */
				max_gain_val = "360"; /* 36dB */
				step_gain_val = "1"; /* 0.1 */
				default_gain = "10";

				min_hdr_ratio = "1";
				max_hdr_ratio = "1";
				
				//framerate
				framerate_factor = "1000000";
				//min_framerate = "1500000"; // 1.5 
				//max_framerate = "24808704";	// 24.808704
				min_framerate = "1000000"; 	// 1.0
				//max_framerate = "30786704";	// 30.78670492587279
				//max_framerate = "35668739";	// 35.66873904033158
				max_framerate = "35868005";	// 35.86800573888092	
				step_framerate = "1";
				//default_framerate = "24088320";
				//default_framerate = "30786704";
				//default_framerate = "35668739";
				default_framerate = "35868005";
				
				//exposure	
				exposure_factor = "1000000";
				min_exp_time = "56"; /* us, 6 lines */
				max_exp_time = "28571";	//"28036"; /* us */
				step_exp_time = "2";
				default_exp_time = "28571";/* us */

				embedded_metadata_height = "0";
			};
			mode2 {/*mode IMX586_MODE_4000X3000_HDR_30FPS_mirror*/
				mclk_khz = "24000";
				num_lanes = "4";
				tegra_sinterface = "serial_a";
				phy_mode = "DPHY";
				discontinuous_clk = "no";
				dpcm_enable = "false";
				cil_settletime = "0";
				dynamic_pixel_bit_depth = "10";
				csi_pixel_bit_depth = "10";
				mode_type = "bayer";
				//pixel_phase = "rggb";
				pixel_phase = "grbg";
				
				active_w = "4000";
				active_h = "3000";
				readout_orientation = "0";
				line_length = "9440";
				inherent_gain = "1";
				mclk_multiplier = "1042";
				pix_clk_hz = "1718400000";
				
				//gain
				gain_factor = "10";
				min_gain_val = "10"; /* 1dB */
				max_gain_val = "240"; /* 24dB */
				step_gain_val = "1"; /* 0.1 */
				default_gain = "10";

				min_hdr_ratio = "1";
				max_hdr_ratio = "1";
				
				//framerate
				framerate_factor = "1000000";
				min_framerate = "1000000"; 	// 1.0
				max_framerate = "30003939";	// 30.0039390646258		
				step_framerate = "1";
				default_framerate = "30003939";
				
				//exposure	
				exposure_factor = "1000000";
				min_exp_time = "32"; /* us, 6 lines */
				max_exp_time = "33333"; /* us */
				step_exp_time = "2";
				default_exp_time = "33333";/* us */

				embedded_metadata_height = "0";
			};	
			mode3 {/*mode IMX586_MODE_4000X3000_NOR_35FPS_mirror*/
				mclk_khz = "24000";
				num_lanes = "4";
				tegra_sinterface = "serial_a";
				phy_mode = "DPHY";
				discontinuous_clk = "no";
				dpcm_enable = "false";
				cil_settletime = "0";
				dynamic_pixel_bit_depth = "10";
				csi_pixel_bit_depth = "10";
				mode_type = "bayer";
				//pixel_phase = "rggb";
				pixel_phase = "grbg";
				
				active_w = "4000";
				active_h = "3000";
				readout_orientation = "0";
				line_length = "7872";
				inherent_gain = "1";
				//mclk_multiplier = "400";
				//pix_clk_hz = "597600000";
				//pix_clk_hz = "741600000";
				mclk_multiplier = "625";
				pix_clk_hz = "864000000";
				
				//gain
				gain_factor = "10";
				min_gain_val = "10"; /* 1dB */
				max_gain_val = "360"; /* 36dB */
				step_gain_val = "1"; /* 0.1 */
				default_gain = "10";

				min_hdr_ratio = "1";
				max_hdr_ratio = "1";
				
				//framerate
				framerate_factor = "1000000";
				//min_framerate = "1500000"; // 1.5 
				//max_framerate = "24808704";	// 24.808704
				min_framerate = "1000000"; 	// 1.0
				//max_framerate = "30786704";	// 30.78670492587279
				//max_framerate = "35668739";	// 35.66873904033158
				max_framerate = "35868005";	// 35.86800573888092	
				step_framerate = "1";
				//default_framerate = "24088320";
				//default_framerate = "30786704";
				//default_framerate = "35668739";
				default_framerate = "35868005";
				
				//exposure	
				exposure_factor = "1000000";
				min_exp_time = "56"; /* us, 6 lines */
				max_exp_time = "28571";	//"28036"; /* us */
				step_exp_time = "2";
				default_exp_time = "28571";/* us */

				embedded_metadata_height = "0";
			};
			mode4 {/*mode IMX586_MODE_4000X3000_HDR_30FPS_flip*/
				mclk_khz = "24000";
				num_lanes = "4";
				tegra_sinterface = "serial_a";
				phy_mode = "DPHY";
				discontinuous_clk = "no";
				dpcm_enable = "false";
				cil_settletime = "0";
				dynamic_pixel_bit_depth = "10";
				csi_pixel_bit_depth = "10";
				mode_type = "bayer";
				pixel_phase = "gbrg";
				//pixel_phase = "grbg";
				
				active_w = "4000";
				active_h = "3000";
				readout_orientation = "0";
				line_length = "9440";
				inherent_gain = "1";
				mclk_multiplier = "1042";
				pix_clk_hz = "1718400000";
				
				//gain
				gain_factor = "10";
				min_gain_val = "10"; /* 1dB */
				max_gain_val = "240"; /* 24dB */
				step_gain_val = "1"; /* 0.1 */
				default_gain = "10";

				min_hdr_ratio = "1";
				max_hdr_ratio = "1";
				
				//framerate
				framerate_factor = "1000000";
				min_framerate = "1000000"; 	// 1.0
				max_framerate = "30003939";	// 30.0039390646258		
				step_framerate = "1";
				default_framerate = "30003939";
				
				//exposure	
				exposure_factor = "1000000";
				min_exp_time = "32"; /* us, 6 lines */
				max_exp_time = "33333"; /* us */
				step_exp_time = "2";
				default_exp_time = "33333";/* us */

				embedded_metadata_height = "0";
			};			
			mode5 {/*mode IMX586_MODE_4000X3000_NOR_35FPS_flip*/
				mclk_khz = "24000";
				num_lanes = "4";
				tegra_sinterface = "serial_a";
				phy_mode = "DPHY";
				discontinuous_clk = "no";
				dpcm_enable = "false";
				cil_settletime = "0";
				dynamic_pixel_bit_depth = "10";
				csi_pixel_bit_depth = "10";
				mode_type = "bayer";
				pixel_phase = "gbrg";
				//pixel_phase = "grbg";
				
				active_w = "4000";
				active_h = "3000";
				readout_orientation = "0";
				line_length = "7872";
				inherent_gain = "1";
				//mclk_multiplier = "400";
				//pix_clk_hz = "597600000";
				//pix_clk_hz = "741600000";
				mclk_multiplier = "625";
				pix_clk_hz = "864000000";
				
				//gain
				gain_factor = "10";
				min_gain_val = "10"; /* 1dB */
				max_gain_val = "360"; /* 36dB */
				step_gain_val = "1"; /* 0.1 */
				default_gain = "10";

				min_hdr_ratio = "1";
				max_hdr_ratio = "1";
				
				//framerate
				framerate_factor = "1000000";
				//min_framerate = "1500000"; // 1.5 
				//max_framerate = "24808704";	// 24.808704
				min_framerate = "1000000"; 	// 1.0
				//max_framerate = "30786704";	// 30.78670492587279
				//max_framerate = "35668739";	// 35.66873904033158
				max_framerate = "35868005";	// 35.86800573888092	
				step_framerate = "1";
				//default_framerate = "24088320";
				//default_framerate = "30786704";
				//default_framerate = "35668739";
				default_framerate = "35868005";
				
				//exposure	
				exposure_factor = "1000000";
				min_exp_time = "56"; /* us, 6 lines */
				max_exp_time = "28571";	//"28036"; /* us */
				step_exp_time = "2";
				default_exp_time = "28571";/* us */

				embedded_metadata_height = "0";
			};
			mode6 {/*mode IMX586_MODE_4000X3000_HDR_30FPS_mirror_flip*/
				mclk_khz = "24000";
				num_lanes = "4";
				tegra_sinterface = "serial_a";
				phy_mode = "DPHY";
				discontinuous_clk = "no";
				dpcm_enable = "false";
				cil_settletime = "0";
				dynamic_pixel_bit_depth = "10";
				csi_pixel_bit_depth = "10";
				mode_type = "bayer";
				pixel_phase = "bggr";
				//pixel_phase = "grbg";
				
				active_w = "4000";
				active_h = "3000";
				readout_orientation = "0";
				line_length = "9440";
				inherent_gain = "1";
				mclk_multiplier = "1042";
				pix_clk_hz = "1718400000";
				
				//gain
				gain_factor = "10";
				min_gain_val = "10"; /* 1dB */
				max_gain_val = "240"; /* 24dB */
				step_gain_val = "1"; /* 0.1 */
				default_gain = "10";

				min_hdr_ratio = "1";
				max_hdr_ratio = "1";
				
				//framerate
				framerate_factor = "1000000";
				min_framerate = "1000000"; 	// 1.0
				max_framerate = "30003939";	// 30.0039390646258		
				step_framerate = "1";
				default_framerate = "30003939";
				
				//exposure	
				exposure_factor = "1000000";
				min_exp_time = "32"; /* us, 6 lines */
				max_exp_time = "33333"; /* us */
				step_exp_time = "2";
				default_exp_time = "33333";/* us */

				embedded_metadata_height = "0";
			};	
			mode7 {/*mode IMX586_MODE_4000X3000_NOR_35FPS_mirror_flip*/
				mclk_khz = "24000";
				num_lanes = "4";
				tegra_sinterface = "serial_a";
				phy_mode = "DPHY";
				discontinuous_clk = "no";
				dpcm_enable = "false";
				cil_settletime = "0";
				dynamic_pixel_bit_depth = "10";
				csi_pixel_bit_depth = "10";
				mode_type = "bayer";
				pixel_phase = "bggr";
				//pixel_phase = "grbg";
				
				active_w = "4000";
				active_h = "3000";
				readout_orientation = "0";
				line_length = "7872";
				inherent_gain = "1";
				//mclk_multiplier = "400";
				//pix_clk_hz = "597600000";
				//pix_clk_hz = "741600000";
				mclk_multiplier = "625";
				pix_clk_hz = "864000000";
				
				//gain
				gain_factor = "10";
				min_gain_val = "10"; /* 1dB */
				max_gain_val = "360"; /* 36dB */
				step_gain_val = "1"; /* 0.1 */
				default_gain = "10";

				min_hdr_ratio = "1";
				max_hdr_ratio = "1";
				
				//framerate
				framerate_factor = "1000000";
				//min_framerate = "1500000"; // 1.5 
				//max_framerate = "24808704";	// 24.808704
				min_framerate = "1000000"; 	// 1.0
				//max_framerate = "30786704";	// 30.78670492587279
				//max_framerate = "35668739";	// 35.66873904033158
				max_framerate = "35868005";	// 35.86800573888092	
				step_framerate = "1";
				//default_framerate = "24088320";
				//default_framerate = "30786704";
				//default_framerate = "35668739";
				default_framerate = "35868005";
				
				//exposure	
				exposure_factor = "1000000";
				min_exp_time = "56"; /* us, 6 lines */
				max_exp_time = "28571";	//"28036"; /* us */
				step_exp_time = "2";
				default_exp_time = "28571";/* us */

				embedded_metadata_height = "0";
			};
			/*
			mode8 {//mode IMX586_MODE_8000X6000_FULL_19FPS/
				mclk_khz = "24000";
				num_lanes = "4";
				tegra_sinterface = "serial_e";
				phy_mode = "DPHY";
				discontinuous_clk = "no";
				dpcm_enable = "false";
				cil_settletime = "0";
				dynamic_pixel_bit_depth = "10";
				csi_pixel_bit_depth = "10";
				mode_type = "bayer";
				pixel_phase = "rggb";
				//pixel_phase = "grbg";
				
				active_w = "8000";
				active_h = "6000";
				readout_orientation = "0";
				line_length = "16000";
				inherent_gain = "1";
				mclk_multiplier = "625";
				pix_clk_hz = "1728000000";
				
				//gain
				gain_factor = "10";
				min_gain_val = "10"; // 1dB
				max_gain_val = "240"; // 24dB
				step_gain_val = "10"; // 1db
				default_gain = "10";

				min_hdr_ratio = "1";
				max_hdr_ratio = "1";
				
				//framerate
				framerate_factor = "1000000";
				min_framerate = "1500000"; // 1.5
				max_framerate = "19390000"; // 19.39
				step_framerate = "1";
				default_framerate = "19390000";
				
				//exposure	
				exposure_factor = "1000000";
				min_exp_time = "30"; // us
				max_exp_time = "28036"; // us
				step_exp_time = "1";
				default_exp_time = "3000";// us

				embedded_metadata_height = "0";
			};	
			*/			
			
			ports {
				#address-cells = <1>;
				#size-cells = <0>;

				port@0 {
					reg = <0>;
					status = "okay";
					liimx586_imx586_out2: endpoint {
						port-index = <4>;
						bus-width = <4>;
						remote-endpoint = <&liimx586_csi_in2>;
					};
				};
			};
		};
	};	
		
	
	
	tegra-camera-platform {
		compatible = "nvidia, tegra-camera-platform";
		/**
		* Physical settings to calculate max ISO BW
		*
		* num_csi_lanes = <>;
		* Total number of CSI lanes when all cameras are active
		*
		* max_lane_speed = <>;
		* Max lane speed in Kbit/s
		*
		* min_bits_per_pixel = <>;
		* Min bits per pixel
		*
		* vi_peak_byte_per_pixel = <>;
		* Max byte per pixel for the VI ISO case
		*
		* vi_bw_margin_pct = <>;
		* Vi bandwidth margin in percentage
		*
		* max_pixel_rate = <>;
		* Max pixel rate in Kpixel/s for the ISP ISO case
		*
		* isp_peak_byte_per_pixel = <>;
		* Max byte per pixel for the ISP ISO case
		*
		* isp_bw_margin_pct = <>;
		* Isp bandwidth margin in percentage
		*/
			
		/*
		* clk/vi/max_rate		460800000
		* clk/isp/max_rate		576000000
		* clk/nvcsi/max_rate	314000000
		* 
		* vi_iso_bw = ((num_csi_lanes * max_lane_speed) / bits_per_pixel)
		*				* vi_bpp * (100 + vi_margin_pct) / 100;
		*
		* vi_iso_bw = (8 * 1650 000 000)/10 * 5 * (100 + 25)/100 
		*			= 13200 000 000 / 10 * 5 * 1.25 = 1320 000 000 * 6.25 = 8250 000 000		
		*
		* vi_iso_bw = (8 * 1700 000 000)/10 * 5 * (100 + 25)/100 
		*			= 13600 000 000 / 10 * 5 * 1.25 = 1360 000 000 * 6.25 = 8500 000 000
		*
		* vi_iso_bw = (8 * 1750 000 000)/10 * 5 * (100 + 25)/100 
		*			= 14000 000 000 / 10 * 5 * 1.25 = 1400 000 000 * 6.25 = 8750 000 000
		*
		*
		*
		* vi_iso_bw = (8 * 1988 700 000)/10 * 5 * (100 + 10)/100 
		*			= 15909 600 000 / 10 * 5 * 1.1 = 1590 960 000 * 5.5 = 8750 280 000
		*	
		* vi_iso_bw = (8 * 2044 375 000)/10 * 5 * (100 + 7)/100
		*			= 16355 000 000 / 10 * 5 * 1.07 = 1635 500 000 * 5.35 = 8749 925 000
		*	
		* vi_iso_bw = (8 * 2063 678 000)/10 * 5 * (100 + 6)/100
		*			= 16509 496 000 / 10 * 5 * 1.06 = 1650 949 600 * 5.3 = 8749 9947 200
		*
		* vi_iso_bw = (8 * 2083 332 000)/10 * 5 * (100 + 5)/100
		*			= 16666 656 000 / 10 * 5 * 1.05 = 1666 656 000 * 5.25 = 8749 994 400
		*
		* vi_iso_bw = (8 * 2144 607 000)/10 * 5 * (100 + 2)/100
		*			= 17156 856 000 / 10 * 5 * 1.02 = 1715 685 600 * 5.10 = 8749 996 560		
		*
		* vi_iso_bw = (8 * 2187 500 000)/10 * 5 * (100 + 0)/100
		*			= 17500 000 000 / 10 * 5 * 1.0 = 1750 000 000 * 5.0 = 8750 000 000	
		*
		*
		* vi_iso_bw = (12 * 1458 333 000)/10 * 5 * (100 + 0)/100
		*			= 17499 996 000 / 10 * 5 * 1.0 = 1749 996 600 * 5.0 = 87499 980 000	
		*		
		*
		* vi_iso_bw = (8 * 1760 000 000)/10 * 5 * (100 + 25)/100 
		*			= 14080 000 000 / 10 * 5 * 1.25 = 1408 000 000 * 6.25 = 8800 000 000
		*
		* vi_iso_bw = (8 * 1770 000 000)/10 * 5 * (100 + 25)/100 
		*			= 14160 000 000 / 10 * 5 * 1.25 = 1416 000 000 * 6.25 = 8850 000 000
		*
		* vi_iso_bw = (8 * 1780 000 000)/10 * 5 * (100 + 25)/100 
		*			= 14240 000 000 / 10 * 5 * 1.25 = 1424 000 000 * 6.25 = 8900 000 000
		*
		* vi_iso_bw = (8 * 1800 000 000)/10 * 5 * (100 + 25)/100 
		*			= 14400 000 000 / 10 * 5 * 1.25 = 1440 000 000 * 6.25 = 9000 000 000
		*
		* vi_iso_bw = (8 * 1850 000 000)/10 * 5 * (100 + 25)/100 
		*			= 14800 000 000 / 10 * 5 * 1.25 = 1480 000 000 * 6.25 = 9250 000 000
		*		
		*
		*
		* isp_iso_bw = max_pixel_rate * isp_bpp * (100 + isp_margin_pct) / 100;
		*
		* isp_iso_bw = 1200 000 * 1000 * 5 * (100 + 25)/100 
		*			 = 1200 000 * 1000 * 5 * 1.25 = 6.25 * 1200 * 1000000 = 7500 000 000
		*
		* isp_iso_bw = 1400 000 * 1000 * 5 * (100 + 25)/100 
		*			 = 1400 000 * 1000 * 5 * 1.25 = 6.25 * 1400 * 1000000 = 8750 000 000
		*
		*
		*
		* isp_iso_bw = 1590 900 * 1000 * 5 * (100 + 10)/100 
		*			 = 1590 900 * 1000 * 5 * 1.1 = 5.5 * 1590 900 * 1000 = 8749 950 000
		*
		* isp_iso_bw = 1635 500 * 1000 * 5 * (100 + 7)/100 
		*			 = 1635 500 * 1000 * 5 * 1.07 = 5.35 * 1635 500 * 1000 = 8749 925 000
		*
		* isp_iso_bw = 1650 950 * 1000 * 5 * (100 + 6)/100 
		*			 = 1650 950 * 1000 * 5 * 1.06 = 5.3 * 1650 950 * 1000 = 8750 035 000
		*		
		* isp_iso_bw = 1666 666 * 1000 * 5 * (100 + 5)/100 
		*			 = 1666 666 * 1000 * 5 * 1.05 = 5.25 * 1666 666 * 1000 = 8749 996 500
		*
		* isp_iso_bw = 1715 686 * 1000 * 5 * (100 + 2)/100 
		*			 = 1715 686 * 1000 * 5 * 1.02 = 5.1 * 1715 686 * 1000 = 8749 998 600
		*
		*
		* isp_iso_bw = 1143 790 * 1000 * 5 * (100 + 2)/100 
		*			 = 1143 790 * 1000 * 5 * 1.02 = 5.1 * 1143 790 * 1000 = 3833 329 000
		*
		*
		* isp_iso_bw = 1750 000 * 1000 * 5 * (100 + 0)/100 
		*			 = 1750 000 * 1000 * 5 * 1.0 = 5.0 * 1750 000 * 1000 = 8750 000 000
		*
		* isp_iso_bw = 1410 000 * 1000 * 5 * (100 + 25)/100 
		*			 = 1410 000 * 1000 * 5 * 1.25 = 6.25 * 1410 * 1000000 = 8812 500 000
		*
		* isp_iso_bw = 1420 000 * 1000 * 5 * (100 + 25)/100 
		*			 = 1420 000 * 1000 * 5 * 1.25 = 6.25 * 1420 * 1000000 = 8875 000 000
		*
		* isp_iso_bw = 1430 000 * 1000 * 5 * (100 + 25)/100 
		*			 = 1430 000 * 1000 * 5 * 1.25 = 6.25 * 1430 * 1000000 = 8937 500 000
		*
		* isp_iso_bw = 1440 000 * 1000 * 5 * (100 + 25)/100 
		*			 = 1440 000 * 1000 * 5 * 1.25 = 6.25 * 1440 * 1000000 = 9000 000 000
		*
		* isp_iso_bw = 1490 000 * 1000 * 5 * (100 + 25)/100
		*			 = 1490 000 * 1000 * 5 * 1.25 = 6.25 * 1490 * 1000000 = 9312 500 000
		*
		* isp_iso_bw = 1500 000 * 1000 * 5 * (100 + 25)/100 
		*			 = 1500 000 * 1000 * 5 * 1.25 = 6.25 * 1500 * 1000000 = 9375 000 000
		*
		* isp_iso_bw = 1728 000 * 1000 * 5 * (100 + 25)/100 
		*			 = 1728 000 * 1000 * 5 * 1.25 = 6.25 * 1728 * 1000000 = 10800 000 000
		*
		*
		* bw = pixel_rate * bpp / 1024;
		*
		*
		*/
		
		num_csi_lanes = <12>;
		max_lane_speed = <1458333>;
		min_bits_per_pixel = <10>;
		vi_peak_byte_per_pixel = <5>;
		//vi_bw_margin_pct = <25>;
		//vi_bw_margin_pct = <0>;
		vi_bw_margin_pct = <2>;
		
		max_pixel_rate = <1715686>;
		//max_pixel_rate = <1143790>;
		isp_peak_byte_per_pixel = <5>;
		//isp_bw_margin_pct = <25>;
		//isp_bw_margin_pct = <0>;
		isp_bw_margin_pct = <2>;
		
		/**
		 * The general guideline for naming badge_info contains 3 parts, and is as follows,
		 * The first part is the camera_board_id for the module; if the module is in a FFD
		 * platform, then use the platform name for this part.
		 * The second part contains the position of the module, ex. "rear" or "front".
		 * The third part contains the last 6 characters of a part number which is found
		 * in the module's specsheet from the vender.
		 */
		modules {
			module0 {
				badge = "imx586_rear_BS";
				position = "rear";
				orientation = "1";
				drivernode0 {
					pcl_id = "v4l2_sensor";
					devname = "imx586 2-001a";
					proc-device-tree = "/proc/device-tree/i2c@3180000/imx586_a@34";
				};
			};
			//imx586
			module1 {
				badge = "imx586_front_BS";
				position = "front";
				orientation = "1";
				drivernode0 {
					/* Declare PCL support driver (classically known as guid)  */
					pcl_id = "v4l2_sensor";
					/* Driver v4l2 device name */
					devname = "imx586_8 8-001a";
					/* Declare the device-tree hierarchy to driver instance */
					proc-device-tree = "/proc/device-tree/i2c@31e0000/imx586_c@34";
				};
			};
			
			//imx586
			module2 {
				badge = "imx586_center_BS";
				position = "center";
				orientation = "1";
				drivernode0 {
					/* Declare PCL support driver (classically known as guid)  */
					pcl_id = "v4l2_sensor";
					/* Driver v4l2 device name */
					devname = "imx586_1 1-001a";
					/* Declare the device-tree hierarchy to driver instance */
					proc-device-tree = "/proc/device-tree/i2c@c240000/imx586_e@34";
				};
			};			
			
		};
	};
};
